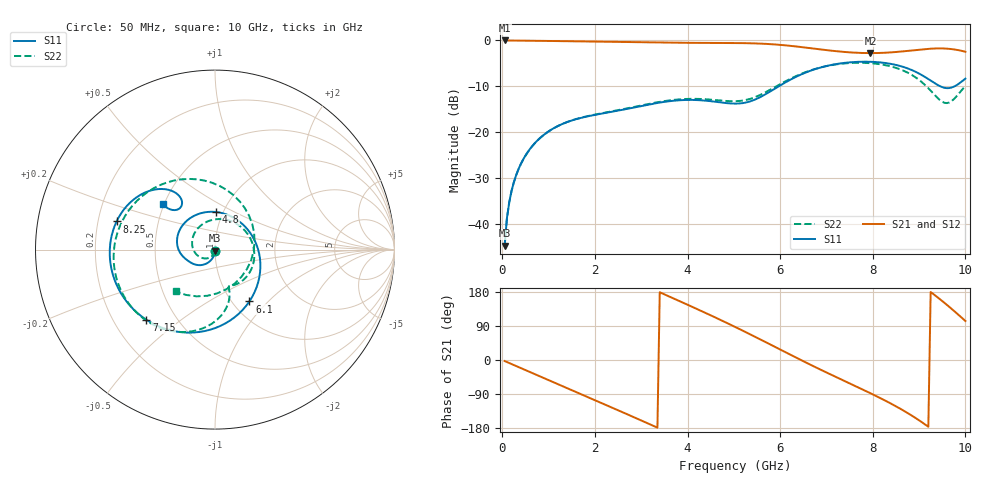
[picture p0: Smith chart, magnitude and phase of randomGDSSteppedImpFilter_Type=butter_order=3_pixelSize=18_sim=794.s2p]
! freq	dB(S11)	phase(S11)	dB(S12)	phase(S12)
!  dB(S21)	phase(S21)	dB(S22)	phase(S22)
!S-par simulation data
#  GHz  S  DB  R 50
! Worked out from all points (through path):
!   200 points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, 50 MHz to 10 GHz, reference 50 ohm
!   highest |S21| = 0.00 dB at 50 MHz (marker M1); lowest = -2.8 dB at 7.95 GHz (marker M2)
!   group delay of S21, straight-line fit = 164 ps
!   lowest |S11| = -44.7 dB at 50 MHz (marker M3), VSWR 1.01, Z = 50 - j0.584 ohm
!   |S11| at or under -10 dB: start of sweep to 5.965 GHz; 9.464 GHz to 9.761 GHz (297.6 MHz wide, 3.1 % of centre)
!   |S22| runs from -44.7 to -4.9 dB; largest |S21 - S12| = 0
!   S11 on the Smith chart (normalised r, x): 50 MHz: 1.00, -0.01; 4.8 GHz: 0.93, +0.41; 6.1 GHz: 1.19, -0.78; 7.15 GHz: 0.34, -0.38; 8.25 GHz: 0.28, +0.13; 10 GHz: 0.49, +0.29
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0.05  -44.67 -91.0  -0.00 -2.7  -0.00 -2.7  -44.75 -92.7
0.1  -38.67 -93.2  -0.01 -5.4  -0.01 -5.4  -38.74 -96.6
0.2  -32.72 -97.0  -0.02 -10.7  -0.02 -10.7  -32.76 -103.7
0.5  -25.03 -108.5  -0.05 -26.6  -0.05 -26.6  -25.08 -125.0
1.15  -18.88 -131.0  -0.13 -60.9  -0.13 -60.9  -18.87 -172.6
1.75  -16.72 -147.4  -0.20 -92.6  -0.20 -92.6  -16.67 140.4
2.65  -14.98 -165.7  -0.31 -140.6  -0.31 -140.6  -14.87 63.1
3.4  -13.51 173.7  -0.44 178.8  -0.44 178.8  -13.35 3.2
4.05  -12.93 144.0  -0.52 143.1  -0.52 143.1  -12.70 -37.5
4.8  -13.58 87.8  -0.55 100.7  -0.55 100.7  -13.14 -65.8
5.05  -13.74 61.4  -0.56 86.0  -0.56 86.0  -13.21 -69.2
5.55  -12.43 1.1  -0.68 55.6  -0.68 55.6  -11.94 -71.3
6.1  -9.20 -56.5  -1.05 21.4  -1.05 21.4  -8.96 -82.7
6.7  -6.42 -104.5  -1.74 -15.3  -1.74 -15.3  -6.37 -107.8
7.15  -5.24 -134.3  -2.28 -41.6  -2.28 -41.6  -5.30 -130.5
7.95  -4.64 179.8  -2.75 -87.7  -2.75 -87.7  -4.95 -176.5
8.25  -4.88 164.1  -2.68 -105.9  -2.68 -105.9  -5.34 163.1
8.35  -5.03 158.9  -2.62 -112.3  -2.62 -112.3  -5.55 155.6
8.85  -6.47 135.2  -2.17 -147.3  -2.17 -147.3  -7.54 110.2
9.3  -9.06 123.6  -1.76 174.8  -1.76 174.8  -11.45 44.8
9.6  -10.38 129.9  -1.78 145.6  -1.78 145.6  -13.63 -30.8
10  -8.30 139.0  -2.46 103.0  -2.46 103.0  -9.89 -133.3
